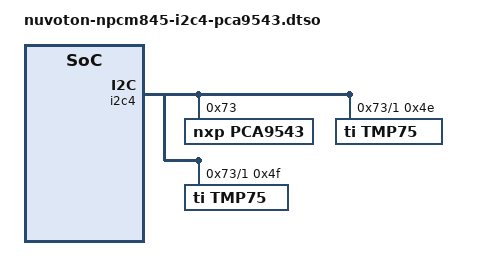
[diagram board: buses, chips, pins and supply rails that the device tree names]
/dts-v1/;
/plugin/;

/* PCA9543 I2C mux on i2c4 (addr 0x73) with two TMP75 sensors behind it.
 * Base &i2c4 already provides #address-cells/#size-cells.
 */
&i2c4 {
	pca9543: i2c-switch@73 {
		compatible = "nxp,pca9543";
		#address-cells = <1>;
		#size-cells = <0>;
		reg = <0x73>;
		i2c-mux-idle-disconnect;

		i2c4_0: i2c@0 {
			#address-cells = <1>;
			#size-cells = <0>;
			reg = <0>;
		};

		i2c4_1: i2c@1 {
			#address-cells = <1>;
			#size-cells = <0>;
			reg = <1>;

			tmp75@4e {
				compatible = "ti,tmp75";
				reg = <0x4e>;
			};

			tmp75@4f {
				compatible = "ti,tmp75";
				reg = <0x4f>;
			};
		};
	};
};
